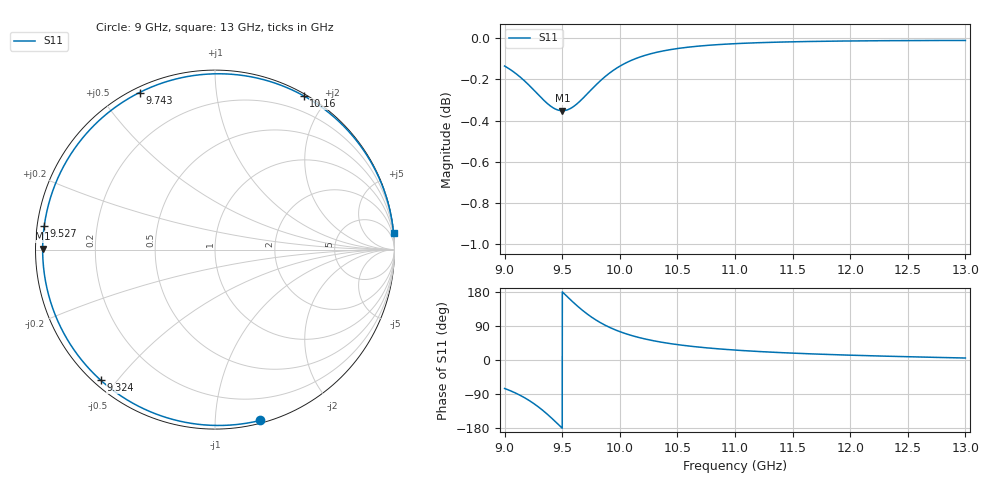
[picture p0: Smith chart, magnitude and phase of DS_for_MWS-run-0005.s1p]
! TOUCHSTONE file generated by CST DESIGN STUDIO
! Date and time: Tue Feb  4 13:37:45 2025
! Project name: C:\Work\MatlabApps\UnitCellOptimizationMatlab\CST\unitcell.cst
! Tree item: Tasks\Sweep1\SPara1\S-Parameters
! Header version: 2024
! Port assignment regex: !\s*Touchstone port\s*([0-9]+)\s*=\s*(CST MWS port|CST DES external port|CST DES block port)\s*(.+)\s* \(\"(.*)\"\)(\s*mode\s*([0-9]+))?.*
! Touchstone port assignment:
! Touchstone port 1 = CST DES external port 1 ("")
# GHz S MA R 50
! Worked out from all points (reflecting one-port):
!   4001 points, 9 GHz to 13 GHz, reference 50 ohm
!   lowest |S11| = -0.4 dB at 9.501 GHz (marker M1), VSWR 49.36, Z = 1.01 + j0.117 ohm
!   phase of S11 starts at -75 deg and turns -280 deg over the sweep
!   S11 on the Smith chart (normalised r, x): 9 GHz: 0.02, -1.30; 9.324 GHz: 0.02, -0.45; 9.527 GHz: 0.02, +0.07; 9.743 GHz: 0.02, +0.63; 10.16 GHz: 0.02, +1.73; 13 GHz: 0, +22
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9  0.9846 -75.1
9.085  0.9811 -85.8
9.187  0.9756 -102.0
9.258  0.9712 -116.0
9.324  0.9669 -131.1
9.371  0.9642 -143.2
9.42  0.9619 -156.6
9.461  0.9607 -168.5
9.5  0.9603 -180.0
9.501  0.9603 179.7
9.527  0.9605 172.1
9.58  0.9618 156.7
9.64  0.9646 140.2
9.691  0.9677 127.4
9.743  0.9711 115.7
9.796  0.9744 105.0
9.854  0.9778 94.8
9.926  0.9814 84.1
10  0.9845 74.9
10.158  0.9892 60.0
10.313  0.9921 49.6
10.5  0.9943 40.6
10.722  0.9959 33.0
11  0.997 26.2
11.5  0.9981 18.1
12  0.9985 12.7
12.5  0.9987 8.6
13  0.9988 5.2
